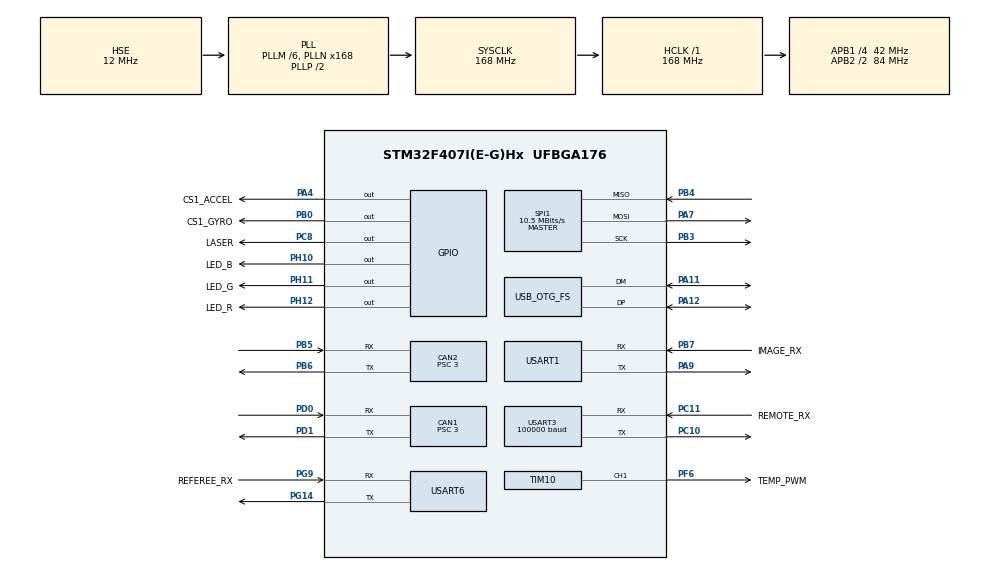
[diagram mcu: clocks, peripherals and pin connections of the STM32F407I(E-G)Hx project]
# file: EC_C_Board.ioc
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CAN1.BS1=CAN_BS1_10TQ
CAN1.BS2=CAN_BS2_3TQ
CAN1.CalculateBaudRate=1000000
CAN1.CalculateTimeBit=1000
CAN1.CalculateTimeQuantum=71.42857142857143
CAN1.Prescaler=3
CAN2.BS1=CAN_BS1_10TQ
CAN2.BS2=CAN_BS2_3TQ
CAN2.CalculateBaudRate=1000000
CAN2.CalculateTimeBit=1000
CAN2.CalculateTimeQuantum=71.42857142857143
CAN2.Prescaler=3
Dma.Request0=USART3_RX
Dma.Request1=USART1_RX
Dma.Request2=USART1_TX
Dma.Request3=USART6_RX
Dma.Request4=USART6_TX
Dma.USART1_RX.1.Direction=DMA_PERIPH_TO_MEMORY
Dma.USART1_RX.1.FIFOMode=DMA_FIFOMODE_DISABLE
Dma.USART1_RX.1.Instance=DMA2_Stream5
Dma.USART1_RX.1.MemDataAlignment=DMA_MDATAALIGN_BYTE
Dma.USART1_RX.1.MemInc=DMA_MINC_ENABLE
Dma.USART1_RX.1.Mode=DMA_NORMAL
Dma.USART1_RX.1.PeriphDataAlignment=DMA_PDATAALIGN_BYTE
Dma.USART1_RX.1.PeriphInc=DMA_PINC_DISABLE
Dma.USART1_RX.1.Priority=DMA_PRIORITY_MEDIUM
Dma.USART1_TX.2.Direction=DMA_MEMORY_TO_PERIPH
Dma.USART1_TX.2.FIFOMode=DMA_FIFOMODE_DISABLE
Dma.USART1_TX.2.Instance=DMA2_Stream7
Dma.USART1_TX.2.MemDataAlignment=DMA_MDATAALIGN_BYTE
Dma.USART1_TX.2.MemInc=DMA_MINC_ENABLE
Dma.USART1_TX.2.Mode=DMA_NORMAL
Dma.USART1_TX.2.PeriphDataAlignment=DMA_PDATAALIGN_BYTE
Dma.USART1_TX.2.PeriphInc=DMA_PINC_DISABLE
Dma.USART1_TX.2.Priority=DMA_PRIORITY_MEDIUM
Dma.USART3_RX.0.Direction=DMA_PERIPH_TO_MEMORY
Dma.USART3_RX.0.FIFOMode=DMA_FIFOMODE_DISABLE
Dma.USART3_RX.0.Instance=DMA1_Stream1
Dma.USART3_RX.0.MemDataAlignment=DMA_MDATAALIGN_BYTE
Dma.USART3_RX.0.MemInc=DMA_MINC_ENABLE
Dma.USART3_RX.0.Mode=DMA_NORMAL
Dma.USART3_RX.0.PeriphDataAlignment=DMA_PDATAALIGN_BYTE
Dma.USART3_RX.0.PeriphInc=DMA_PINC_DISABLE
Dma.USART3_RX.0.Priority=DMA_PRIORITY_HIGH
Dma.USART6_RX.3.Direction=DMA_PERIPH_TO_MEMORY
Dma.USART6_RX.3.FIFOMode=DMA_FIFOMODE_DISABLE
Dma.USART6_RX.3.Instance=DMA2_Stream1
Dma.USART6_RX.3.MemDataAlignment=DMA_MDATAALIGN_BYTE
Dma.USART6_RX.3.MemInc=DMA_MINC_ENABLE
Dma.USART6_RX.3.Mode=DMA_NORMAL
Dma.USART6_RX.3.PeriphDataAlignment=DMA_PDATAALIGN_BYTE
Dma.USART6_RX.3.PeriphInc=DMA_PINC_DISABLE
Dma.USART6_RX.3.Priority=DMA_PRIORITY_MEDIUM
Dma.USART6_TX.4.Direction=DMA_MEMORY_TO_PERIPH
Dma.USART6_TX.4.FIFOMode=DMA_FIFOMODE_DISABLE
Dma.USART6_TX.4.Instance=DMA2_Stream6
Dma.USART6_TX.4.MemDataAlignment=DMA_MDATAALIGN_BYTE
Dma.USART6_TX.4.MemInc=DMA_MINC_ENABLE
Dma.USART6_TX.4.Mode=DMA_NORMAL
Dma.USART6_TX.4.PeriphDataAlignment=DMA_PDATAALIGN_BYTE
Dma.USART6_TX.4.PeriphInc=DMA_PINC_DISABLE
Dma.USART6_TX.4.Priority=DMA_PRIORITY_MEDIUM
FREERTOS.INCLUDE_vTaskDelayUntil=1
FREERTOS.Tasks01=defaultTask,-1,256,StartDefaultTask,Default,NULL,Dynamic,NULL,NULL;insTask,2,256,StartInsTask,Default,NULL,Dynamic,NULL,NULL;gimbalTask,1,384,StartGimbalTask,Default,NULL,Dynamic,NULL,NULL;modeTask,1,512,StartModeTask,Default,NULL,Dynamic,NULL,NULL;uiTask,0,384,StartUITask,Default,NULL,Dynamic,NULL,NULL
FREERTOS.configENABLE_FPU=1
FREERTOS.configMAX_PRIORITIES=9
FREERTOS.configUSE_NEWLIB_REENTRANT=0
Mcu.Family=STM32F4
Mcu.Name=STM32F407I(E-G)Hx
Mcu.Package=UFBGA176
NVIC.CAN1_RX0_IRQn=true\:5\:0\:false\:false\:true\:true\:true\:true\:true
NVIC.CAN1_RX1_IRQn=true\:5\:0\:false\:false\:true\:true\:true\:true\:true
NVIC.CAN2_RX0_IRQn=true\:5\:0\:false\:false\:true\:true\:true\:true\:true
NVIC.CAN2_RX1_IRQn=true\:5\:0\:false\:false\:true\:true\:true\:true\:true
NVIC.DMA1_Stream1_IRQn=true\:5\:0\:false\:false\:true\:true\:false\:true\:true
NVIC.DMA2_Stream1_IRQn=true\:5\:0\:false\:false\:true\:true\:false\:true\:true
NVIC.DMA2_Stream5_IRQn=true\:5\:0\:false\:false\:true\:false\:false\:true\:true
NVIC.DMA2_Stream6_IRQn=true\:5\:0\:false\:false\:true\:true\:false\:true\:true
NVIC.DMA2_Stream7_IRQn=true\:5\:0\:false\:false\:true\:true\:false\:true\:true
NVIC.OTG_FS_IRQn=true\:5\:0\:false\:false\:true\:true\:false\:true\:true
NVIC.PriorityGroup=NVIC_PRIORITYGROUP_4
NVIC.TIM7_IRQn=true\:15\:0\:false\:false\:true\:false\:false\:true\:true
NVIC.TimeBase=TIM7_IRQn
NVIC.TimeBaseIP=TIM7
NVIC.USART1_IRQn=true\:5\:0\:false\:false\:true\:true\:true\:true\:true
NVIC.USART3_IRQn=true\:5\:0\:false\:false\:true\:true\:true\:true\:true
NVIC.USART6_IRQn=true\:5\:0\:false\:false\:true\:true\:true\:true\:true
PA11.Mode=Device_Only
PA11.Signal=USB_OTG_FS_DM
PA12.Mode=Device_Only
PA12.Signal=USB_OTG_FS_DP
PA13.Mode=Serial_Wire
PA13.Signal=SYS_JTMS-SWDIO
PA14.Mode=Serial_Wire
PA14.Signal=SYS_JTCK-SWCLK
PA4.GPIO_Label=CS1_ACCEL
PA4.GPIO_PuPd=GPIO_PULLUP
PA4.GPIO_Speed=GPIO_SPEED_FREQ_HIGH
PA4.PinState=GPIO_PIN_SET
PA4.Signal=GPIO_Output
PA7.Mode=Full_Duplex_Master
PA7.Signal=SPI1_MOSI
PA9.Mode=Asynchronous
PA9.Signal=USART1_TX
PB0.GPIO_Label=CS1_GYRO
PB0.GPIO_PuPd=GPIO_PULLUP
PB0.GPIO_Speed=GPIO_SPEED_FREQ_HIGH
PB0.PinState=GPIO_PIN_SET
PB0.Signal=GPIO_Output
PB3.Mode=Full_Duplex_Master
PB3.Signal=SPI1_SCK
PB4.Mode=Full_Duplex_Master
PB4.Signal=SPI1_MISO
PB5.Mode=CAN_Activate
PB5.Signal=CAN2_RX
PB6.Mode=CAN_Activate
PB6.Signal=CAN2_TX
PB7.GPIO_Label=IMAGE_RX
PB7.Mode=Asynchronous
PB7.Signal=USART1_RX
PC10.Mode=Asynchronous
PC10.Signal=USART3_TX
PC11.GPIO_Label=REMOTE_RX
PC11.GPIO_Speed=GPIO_SPEED_FREQ_VERY_HIGH
PC11.Mode=Asynchronous
PC11.Signal=USART3_RX
PC8.GPIO_Label=LASER
PC8.GPIO_ModeDefaultOutputPP=GPIO_MODE_OUTPUT_PP
PC8.GPIO_PuPd=GPIO_PULLUP
PC8.GPIO_Speed=GPIO_SPEED_FREQ_HIGH
PC8.PinState=GPIO_PIN_SET
PC8.Signal=GPIO_Output
PD0.Mode=CAN_Activate
PD0.Signal=CAN1_RX
PD1.Mode=CAN_Activate
PD1.Signal=CAN1_TX
PF6.GPIO_Label=TEMP_PWM
PF6.Signal=S_TIM10_CH1
PG14.Mode=Asynchronous
PG14.Signal=USART6_TX
PG9.GPIO_Label=REFEREE_RX
PG9.Mode=Asynchronous
PG9.Signal=USART6_RX
PH0-OSC_IN.Mode=HSE-External-Oscillator
PH0-OSC_IN.Signal=RCC_OSC_IN
PH1-OSC_OUT.Mode=HSE-External-Oscillator
PH1-OSC_OUT.Signal=RCC_OSC_OUT
PH10.GPIO_Label=LED_B
PH10.Signal=GPIO_Output
PH11.GPIO_Label=LED_G
PH11.Signal=GPIO_Output
PH12.GPIO_Label=LED_R
PH12.Signal=GPIO_Output
ProjectManager.HeapSize=0x200
ProjectManager.StackSize=0x400
ProjectManager.TargetToolchain=Makefile
RCC.48MHZClocksFreq_Value=48000000
RCC.AHBFreq_Value=168000000
RCC.APB1CLKDivider=RCC_HCLK_DIV4
RCC.APB1Freq_Value=42000000
RCC.APB1TimFreq_Value=84000000
RCC.APB2CLKDivider=RCC_HCLK_DIV2
RCC.APB2Freq_Value=84000000
RCC.APB2TimFreq_Value=168000000
RCC.CortexFreq_Value=168000000
RCC.HCLKFreq_Value=168000000
RCC.HSE_VALUE=12000000
RCC.HSI_VALUE=16000000
RCC.LSE_VALUE=32768
RCC.PLLM=6
RCC.PLLN=168
RCC.PLLQ=7
RCC.SYSCLKFreq_VALUE=168000000
RCC.SYSCLKSource=RCC_SYSCLKSOURCE_PLLCLK
RCC.VCOOutputFreq_Value=336000000
SH.S_TIM10_CH1.0=TIM10_CH1,PWM Generation1 CH1
SPI1.BaudRatePrescaler=SPI_BAUDRATEPRESCALER_8
SPI1.CLKPhase=SPI_PHASE_2EDGE
SPI1.CLKPolarity=SPI_POLARITY_HIGH
SPI1.CalculateBaudRate=10.5 MBits/s
SPI1.Direction=SPI_DIRECTION_2LINES
SPI1.Mode=SPI_MODE_MASTER
SPI1.VirtualType=VM_MASTER
STMicroelectronics.X-CUBE-ALGOBUILD.1.3.0.LibraryCcDSPOoLibraryJjDSPOoLibrary=true
TIM10.Channel=TIM_CHANNEL_1
TIM10.Period=2000-1
TIM10.Prescaler=84-1
USART1.VirtualMode=VM_ASYNC
USART3.BaudRate=100000
USART3.VirtualMode=VM_ASYNC
USART3.WordLength=WORDLENGTH_9B
USART6.VirtualMode=VM_ASYNC
USB_DEVICE.CLASS_NAME_FS=CDC
USB_DEVICE.VirtualMode-CDC_FS=Cdc
USB_DEVICE.VirtualModeFS=Cdc_FS
USB_OTG_FS.VirtualMode=Device_Only
VP_FREERTOS_VS_CMSIS_V1.Mode=CMSIS_V1
VP_STMicroelectronics.X-CUBE-ALGOBUILD_VS_DSPOoLibraryJjLibrary_1.3.0_1.3.0.Mode=DSPOoLibraryJjLibrary
VP_SYS_VS_tim7.Mode=TIM7
VP_TIM10_VS_ClockSourceINT.Mode=Enable_Timer
VP_USB_DEVICE_VS_USB_DEVICE_CDC_FS.Mode=CDC_FS
board=custom

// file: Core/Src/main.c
/* USER CODE BEGIN Header */
/**
 ******************************************************************************
 * @file           : main.c
 * @brief          : Main program body
 ******************************************************************************
 * @attention
 *
 * Copyright (c) 2023 STMicroelectronics.
 * All rights reserved.
 *
 * This software is licensed under terms that can be found in the LICENSE file
 * in the root directory of this software component.
 * If no LICENSE file comes with this software, it is provided AS-IS.
 *
 ******************************************************************************
 */
/* USER CODE END Header */
#include "main.h"
#include "cmsis_os.h"
#include "can.h"
#include "dma.h"
#include "spi.h"
#include "tim.h"
#include "usart.h"
#include "usb_device.h"
#include "gpio.h"

/* USER CODE BEGIN Includes */
#include "aircraft.h"
#include "bmi088_driver.h"
#include "bsp_dwt.h"
/* USER CODE END Includes */

void SystemClock_Config(void);
void MX_FREERTOS_Init(void);

int main(void)
{

  /* MCU Configuration--------------------------------------------------------*/

  /* Reset of all peripherals, Initializes the Flash interface and the Systick. */
  HAL_Init();

  /* Configure the system clock */
  SystemClock_Config();

  /* Initialize all configured peripherals */
  MX_GPIO_Init();
  MX_DMA_Init();
  MX_CAN1_Init();
  MX_CAN2_Init();
  MX_SPI1_Init();
  MX_TIM10_Init();
  MX_USART3_UART_Init();
  MX_USART1_UART_Init();
  MX_USART6_UART_Init();
  /* USER CODE BEGIN 2 */
    DWT_Init(168);
    while (BMI088_init(&hspi1, 1) != BMI088_NO_ERROR)
        ;
    InfantrySystemInit();
  /* USER CODE END 2 */

  /* Call init function for freertos objects (in freertos.c) */
  MX_FREERTOS_Init();

  /* Start scheduler */
  osKernelStart();

  /* We should never get here as control is now taken by the scheduler */
  /* Infinite loop */
    while (1) {

    }
}

void SystemClock_Config(void)
{
  RCC_OscInitTypeDef RCC_OscInitStruct = {0};
  RCC_ClkInitTypeDef RCC_ClkInitStruct = {0};

  /** Configure the main internal regulator output voltage
  */
  __HAL_RCC_PWR_CLK_ENABLE();
  __HAL_PWR_VOLTAGESCALING_CONFIG(PWR_REGULATOR_VOLTAGE_SCALE1);

  /** Initializes the RCC Oscillators according to the specified parameters
  * in the RCC_OscInitTypeDef structure.
  */
  RCC_OscInitStruct.OscillatorType = RCC_OSCILLATORTYPE_HSE;
  RCC_OscInitStruct.HSEState = RCC_HSE_ON;
  RCC_OscInitStruct.PLL.PLLState = RCC_PLL_ON;
  RCC_OscInitStruct.PLL.PLLSource = RCC_PLLSOURCE_HSE;
  RCC_OscInitStruct.PLL.PLLM = 6;
  RCC_OscInitStruct.PLL.PLLN = 168;
  RCC_OscInitStruct.PLL.PLLP = RCC_PLLP_DIV2;
  RCC_OscInitStruct.PLL.PLLQ = 7;
  if (HAL_RCC_OscConfig(&RCC_OscInitStruct) != HAL_OK)
  {
    Error_Handler();
  }

  /** Initializes the CPU, AHB and APB buses clocks
  */
  RCC_ClkInitStruct.ClockType = RCC_CLOCKTYPE_HCLK|RCC_CLOCKTYPE_SYSCLK
                              |RCC_CLOCKTYPE_PCLK1|RCC_CLOCKTYPE_PCLK2;
  RCC_ClkInitStruct.SYSCLKSource = RCC_SYSCLKSOURCE_PLLCLK;
  RCC_ClkInitStruct.AHBCLKDivider = RCC_SYSCLK_DIV1;
  RCC_ClkInitStruct.APB1CLKDivider = RCC_HCLK_DIV4;
  RCC_ClkInitStruct.APB2CLKDivider = RCC_HCLK_DIV2;

  if (HAL_RCC_ClockConfig(&RCC_ClkInitStruct, FLASH_LATENCY_5) != HAL_OK)
  {
    Error_Handler();
  }
}

void HAL_TIM_PeriodElapsedCallback(TIM_HandleTypeDef *htim)
{
  if (htim->Instance == TIM7) {
    HAL_IncTick();
  }
}

void Error_Handler(void)
{
    __disable_irq();
    while (1) {
    }
}

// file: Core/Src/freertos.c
/* USER CODE BEGIN Header */
/**
 ******************************************************************************
 * File Name          : freertos.c
 * Description        : Code for freertos applications
 ******************************************************************************
 * @attention
 *
 * Copyright (c) 2023 STMicroelectronics.
 * All rights reserved.
 *
 * This software is licensed under terms that can be found in the LICENSE file
 * in the root directory of this software component.
 * If no LICENSE file comes with this software, it is provided AS-IS.
 *
 ******************************************************************************
 */
/* USER CODE END Header */

#include "FreeRTOS.h"
#include "task.h"
#include "main.h"
#include "cmsis_os.h"

/* USER CODE BEGIN Includes */
#include "aircraft.h"
#include "client_UI.h"
#include "ins.h"
#include "remote_keyboard.h"
/* USER CODE END Includes */

osThreadId defaultTaskHandle;
osThreadId insTaskHandle;
osThreadId gimbalTaskHandle;
osThreadId modeTaskHandle;
osThreadId uiTaskHandle;

void StartDefaultTask(void const * argument);
void StartInsTask(void const * argument);
void StartGimbalTask(void const * argument);
void StartModeTask(void const * argument);
void StartUITask(void const * argument);

extern void MX_USB_DEVICE_Init(void);
void MX_FREERTOS_Init(void); /* (MISRA C 2004 rule 8.1) */

/* GetIdleTaskMemory prototype (linked to static allocation support) */
void vApplicationGetIdleTaskMemory( StaticTask_t **ppxIdleTaskTCBBuffer, StackType_t **ppxIdleTaskStackBuffer, uint32_t *pulIdleTaskStackSize );

/* USER CODE BEGIN GET_IDLE_TASK_MEMORY */
static StaticTask_t xIdleTaskTCBBuffer;
static StackType_t xIdleStack[configMINIMAL_STACK_SIZE];

void vApplicationGetIdleTaskMemory(StaticTask_t **ppxIdleTaskTCBBuffer, StackType_t **ppxIdleTaskStackBuffer, uint32_t *pulIdleTaskStackSize)
{
    *ppxIdleTaskTCBBuffer = &xIdleTaskTCBBuffer;
    *ppxIdleTaskStackBuffer = &xIdleStack[0];
    *pulIdleTaskStackSize = configMINIMAL_STACK_SIZE;
    /* place for user code */
}
/* USER CODE END GET_IDLE_TASK_MEMORY */

void MX_FREERTOS_Init(void) {

  /* Create the thread(s) */
  /* definition and creation of defaultTask */
  osThreadDef(defaultTask, StartDefaultTask, osPriorityBelowNormal, 0, 256);
  defaultTaskHandle = osThreadCreate(osThread(defaultTask), NULL);

  /* definition and creation of insTask */
  osThreadDef(insTask, StartInsTask, osPriorityHigh, 0, 256);
  insTaskHandle = osThreadCreate(osThread(insTask), NULL);

  /* definition and creation of gimbalTask */
  osThreadDef(gimbalTask, StartGimbalTask, osPriorityAboveNormal, 0, 384);
  gimbalTaskHandle = osThreadCreate(osThread(gimbalTask), NULL);

  /* definition and creation of modeTask */
  osThreadDef(modeTask, StartModeTask, osPriorityAboveNormal, 0, 512);
  modeTaskHandle = osThreadCreate(osThread(modeTask), NULL);

  /* definition and creation of uiTask */
  osThreadDef(uiTask, StartUITask, osPriorityNormal, 0, 384);
  uiTaskHandle = osThreadCreate(osThread(uiTask), NULL);

}

void StartDefaultTask(void const * argument)
{
  /* init code for USB_DEVICE */
  MX_USB_DEVICE_Init();
  /* USER CODE BEGIN StartDefaultTask */
    /* Infinite loop */
    for (;;) {
        HAL_GPIO_TogglePin(LED_R_GPIO_Port, LED_R_Pin);
        osDelay(500);
        HAL_GPIO_TogglePin(LED_R_GPIO_Port, LED_R_Pin);
        HAL_GPIO_TogglePin(LED_G_GPIO_Port, LED_G_Pin);
        osDelay(500);
        HAL_GPIO_TogglePin(LED_G_GPIO_Port, LED_G_Pin);
        HAL_GPIO_TogglePin(LED_B_GPIO_Port, LED_B_Pin);
        osDelay(500);
        HAL_GPIO_TogglePin(LED_B_GPIO_Port, LED_B_Pin);
    }
  /* USER CODE END StartDefaultTask */
}

void StartInsTask(void const * argument)
{
  /* USER CODE BEGIN StartInsTask */
    INS_Init();
    /* Infinite loop */
    for (;;) {
        INS_Task();
        osDelay(1);
    }
  /* USER CODE END StartInsTask */
}

void StartGimbalTask(void const * argument)
{
  /* USER CODE BEGIN StartGimbalTask */
    /* Infinite loop */
    for (;;) {
        GimbalTask();
        osDelay(1);
    }
  /* USER CODE END StartGimbalTask */
}

void StartModeTask(void const * argument)
{
  /* USER CODE BEGIN StartModeTask */
    GimbalInit();
    /* Infinite loop */
    for (;;) {
        ModeTask();
        osDelay(1);
    }
  /* USER CODE END StartModeTask */
}

void StartUITask(void const * argument)
{
  /* USER CODE BEGIN StartUITask */
    // 等待裁判系统初始化
    vTaskDelay(300);
    /* Infinite loop */
    for (;;) {
        UITask();
        osDelay(1);
    }
  /* USER CODE END StartUITask */
}
